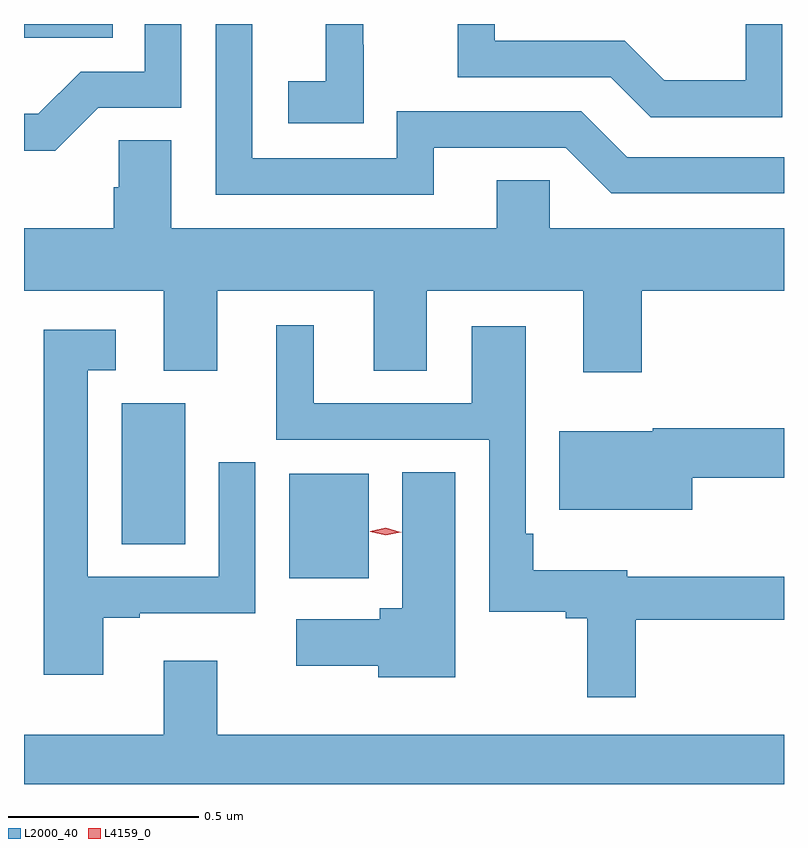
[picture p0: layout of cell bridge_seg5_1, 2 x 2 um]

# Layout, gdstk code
import gdstk
lib = gdstk.Library(unit=1e-6, precision=1e-09)
def R(c, l, rs):  # rectangles x0, y0, x1, y1
    for r in rs: c.add(gdstk.rectangle(r[:2], r[2:], *l))
def P(c, l, *ps):  # polygons
    for p in ps: c.add(gdstk.Polygon(p, *l))
L2000_40 = (2000, 40)
L4159_0 = (4159, 0)

bridge_seg5_1 = lib.new_cell('bridge_seg5_1')
R(bridge_seg5_1, L2000_40, [(625.967,909.284,626.176,909.559), (625.526,909.373,625.693,909.744), (625.269,910.706,625.502,910.742)])
P(bridge_seg5_1, L2000_40, [(626.163,910.687),(626.162,910.687),(626.162,910.742),(626.063,910.742),(626.063,910.591),(625.965,910.591),(625.965,910.481),(626.163,910.481)],
  [(625.464,910.521),(625.683,910.521),(625.683,910.742),(625.587,910.742),(625.587,910.617),(625.418,910.617),(625.307,910.506),(625.269,910.506),(625.269,910.409),(625.351,910.409)],
  [(626.347,910.416),(626.694,910.416),(626.814,910.296),(627.269,910.296),(627.269,910.392),(626.856,910.392),(626.736,910.512),(626.25,910.512),(626.25,910.389),(625.869,910.389),(625.869,910.742),(625.773,910.742),(625.773,910.293),(626.347,910.293)],
  [(627.264,910.742),(627.168,910.742),(627.168,910.594),(626.954,910.594),(626.85,910.698),(626.508,910.698),(626.508,910.742),(626.41,910.742),(626.41,910.602),(626.813,910.602),(626.918,910.497),(627.264,910.497)],
  [(626.894,910.04),(627.269,910.04),(627.269,910.204),(626.652,910.204),(626.652,910.331),(626.513,910.331),(626.513,910.204),(625.657,910.204),(625.657,910.436),(625.518,910.436),(625.518,910.313),(625.505,910.313),(625.505,910.204),(625.269,910.204),(625.269,910.04),(625.637,910.04),(625.637,909.829),(625.777,909.829),(625.777,910.04),(626.189,910.04),(626.189,909.829),(626.329,909.829),(626.329,910.04),(626.741,910.04),(626.741,909.825),(626.894,909.825)],
  [(626.879,909.174),(627.269,909.174),(627.269,909.287),(626.856,909.287),(626.856,909.304),(626.609,909.304),(626.609,909.4),(626.589,909.4),(626.589,909.946),(626.447,909.946),(626.447,909.744),(626.032,909.744),(626.032,909.949),(625.933,909.949),(625.933,909.648),(626.493,909.648),(626.493,909.195),(626.694,909.195),(626.694,909.178),(626.751,909.178),(626.751,908.97),(626.879,908.97)],
  [(625.477,909.18),(625.573,909.18),(625.573,909.192),(625.878,909.192),(625.878,909.589),(625.782,909.589),(625.782,909.288),(625.437,909.288),(625.437,909.831),(625.51,909.831),(625.51,909.937),(625.321,909.937),(625.321,909.03),(625.477,909.03)],
  [(627.028,909.548),(627.269,909.548),(627.269,909.678),(626.924,909.678),(626.924,909.67),(626.678,909.67),(626.678,909.464),(627.028,909.464)],
  [(626.404,909.563),(626.264,909.563),(626.264,909.204),(626.205,909.204),(626.205,909.175),(625.986,909.175),(625.986,909.053),(626.201,909.053),(626.201,909.023),(626.404,909.023)],
  [(627.269,908.872),(625.777,908.872),(625.777,909.067),(625.637,909.067),(625.637,908.872),(625.269,908.872),(625.269,908.742),(627.269,908.742)])
P(bridge_seg5_1, L4159_0, [(626.221,909.396),(626.18,909.406),(626.18,909.407),(626.18,909.407),(626.221,909.416),(626.261,909.405),(626.262,909.405),(626.261,909.404)])

lib.write_gds('bridge_seg5_1.gds')
